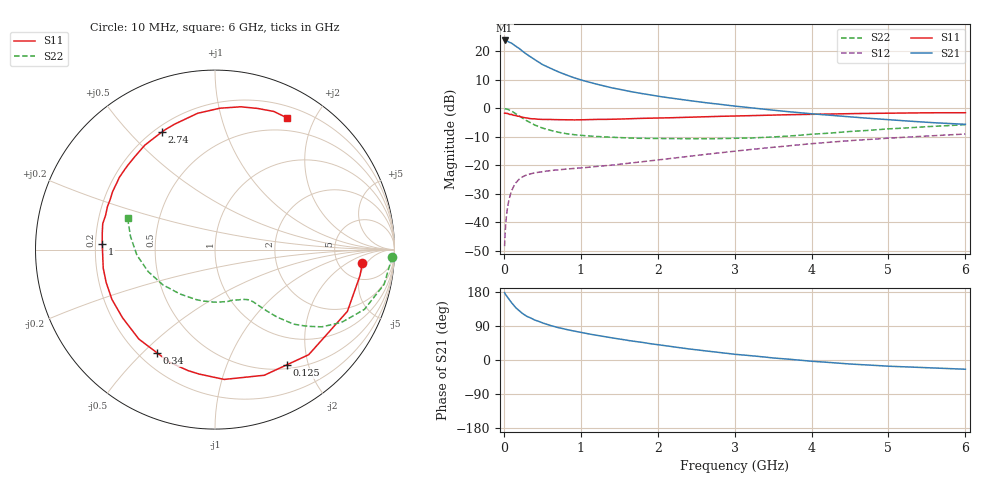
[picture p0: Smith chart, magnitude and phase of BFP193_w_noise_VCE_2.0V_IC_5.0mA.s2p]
! Infineon Technologies  Discrete & RF Semiconductors
! BFP193
! VCE = 2.0 V,  IC =  5.0 mA
! Common Emitter S-Parameters:  Jan 2016
# GHz  S  MA  R  50
!  f  S11  S21  S12  S22
! GHz  MAG  ANG  MAG  ANG  MAG  ANG  MAG  ANG
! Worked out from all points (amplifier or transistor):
!   210 points, 10 MHz to 6 GHz, reference 50 ohm
!   highest |S21| = 23.8 dB at 10 MHz (marker M1)
!   |S21| within 3 dB of that: start of sweep to 207.4 MHz
!   unconditionally stable (mu >= 1): 1.261 GHz to 3.547 GHz
!   at 185 MHz: K = 0.21, MSG = 23.3 dB, |S12| = -25.3 dB
!   at 1.52 GHz: K = 1.09, MAG = 11.3 dB, |S12| = -19.6 dB
!   at 6 GHz: K = 0.93, MSG = 1.7 dB, |S12| = -9.0 dB
!   lowest NFmin = 1.20 dB at 450 MHz
!   S11 on the Smith chart (normalised r, x): 10 MHz: 8.45, -4.01; 125 MHz: 0.55, -1.66; 340 MHz: 0.27, -0.55; 1 GHz: 0.23, +0.02; 2.74 GHz: 0.23, +0.62; 6 GHz: 0.33, +1.63
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0.01  0.8242 -5.3  15.54 177.9  0.0038 89.2  0.9876 -2.4
0.02  0.8209 -10.1  15.29 173.5  0.0076 87.3  0.9792 -4.6
0.05  0.8139 -25.0  15 164.8  0.0191 76.3  0.962 -11.6
0.1  0.7845 -48.3  13.95 151.3  0.0355 66.8  0.8968 -21.8
0.125  0.7562 -58.2  13.16 145.4  0.0417 61.0  0.8529 -25.7
0.15  0.752 -68.6  12.53 138.8  0.0483 56.7  0.8133 -29.9
0.2  0.7252 -85.9  11.21 129.6  0.0571 50.1  0.7338 -35.9
0.26  0.6906 -102.6  9.657 120.3  0.0645 43.8  0.6489 -40.8
0.3  0.6766 -112.1  8.816 115.1  0.068 41.4  0.6031 -43.5
0.34  0.6597 -119.3  8.125 111.8  0.0702 39.1  0.5657 -44.9
0.4  0.6546 -130.4  7.152 105.6  0.0737 35.9  0.5104 -47.4
0.48  0.6402 -140.9  6.131 99.6  0.0767 33.8  0.4626 -49.2
0.6  0.6378 -154.2  5.062 91.3  0.0805 32.0  0.4112 -51.3
1  0.6291 177.1  3.158 72.8  0.0896 32.3  0.335 -56.5
1.02  0.6298 176.0  3.104 72.1  0.0901 32.5  0.3334 -56.8
1.4  0.6454 158.2  2.295 58.6  0.1005 35.7  0.3116 -63.9
2.02  0.676 135.8  1.619 39.9  0.1249 39.9  0.295 -79.0
2.74  0.7183 114.4  1.205 21.3  0.1616 40.4  0.2931 -101.4
3.1  0.7382 105.8  1.059 13.4  0.1829 39.0  0.2988 -114.4
4.1  0.791 86.3  0.782 -4.6  0.2456 31.7  0.3569 -149.5
5.1  0.8238 71.9  0.618 -17.1  0.3049 20.9  0.4423 -178.7
6  0.8364 61.4  0.524 -24.4  0.3537 10.4  0.5173 160.2
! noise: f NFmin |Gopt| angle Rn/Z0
0.45  1.2  0.26  102  0.14
0.9  1.25  0.38  145  0.12
1.8  2.05  0.56  -161  0.12
